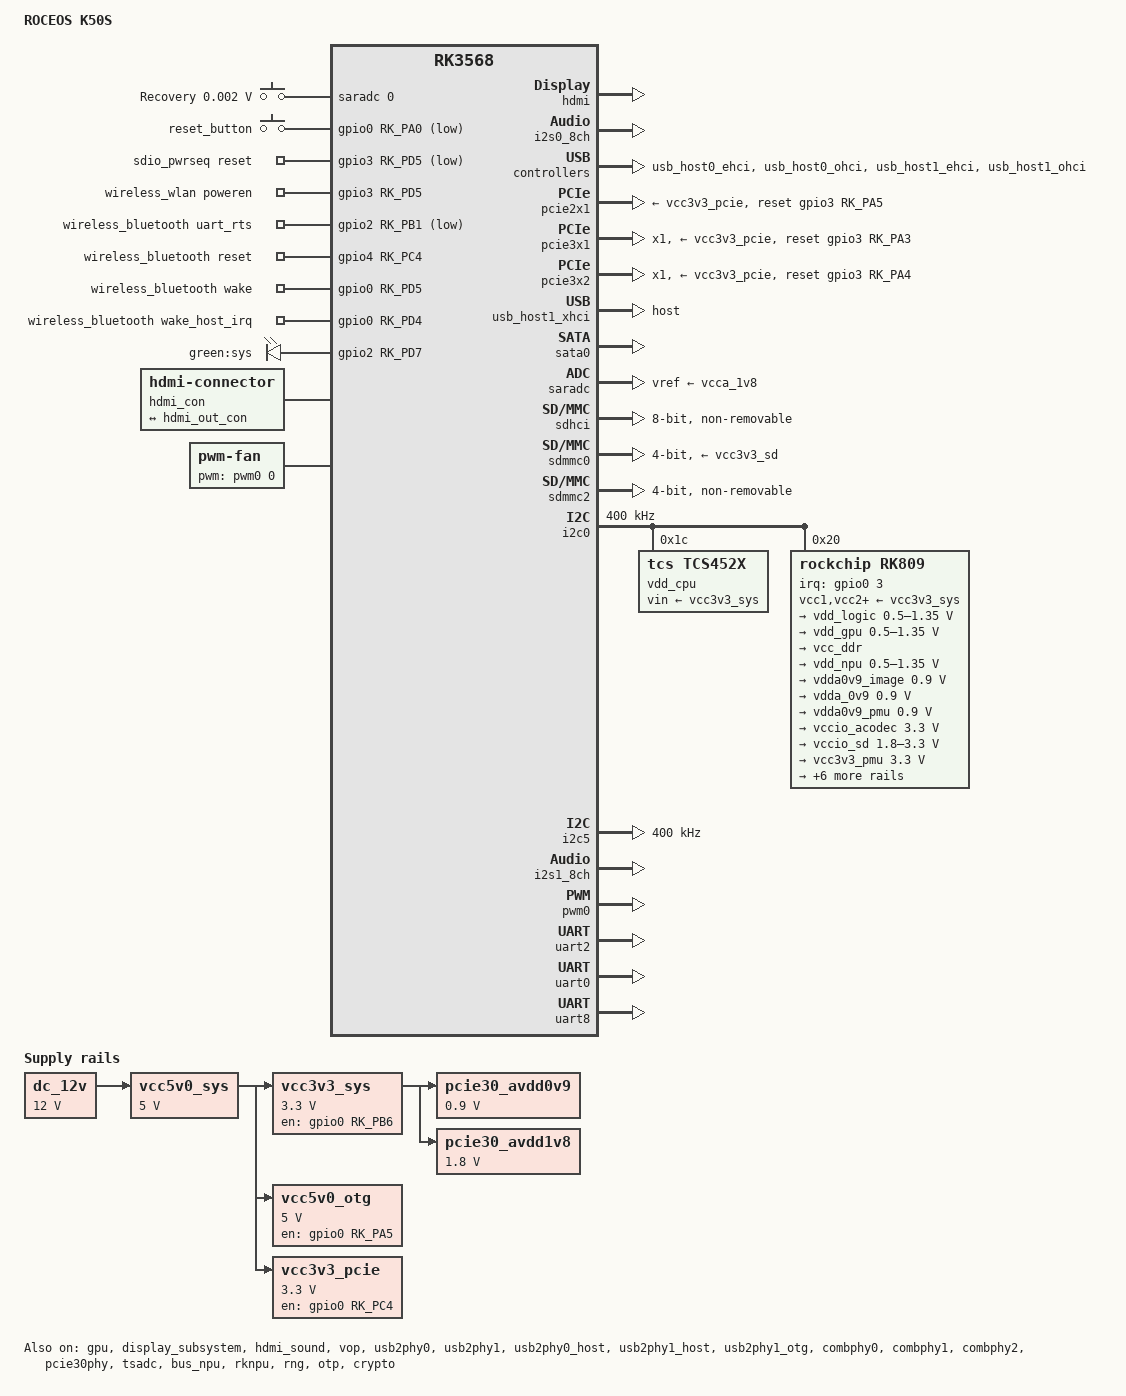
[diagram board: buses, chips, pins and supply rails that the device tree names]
// SPDX-License-Identifier: (GPL-2.0+ OR MIT)
/*
 * Copyright (c) 2020 Rockchip Electronics Co., Ltd.
 * Copyright (c) 2022 ROCEOS
 */

#include <dt-bindings/gpio/gpio.h>
#include <dt-bindings/pinctrl/rockchip.h>
#include <dt-bindings/pwm/pwm.h>
#include <dt-bindings/input/linux-event-codes.h>
#include <dt-bindings/soc/rockchip,vop2.h>
#include <rockchip/rk3568.dtsi>
#include "rk3568-ip.dtsi"
#include "rk3568-ip-rk809.dtsi"
#include "rk3568-ramoops.dtsi"

/ {
	model = "ROCEOS K50S";
	compatible = "roceos,k50s", "rockchip,rk3568";

	aliases {
		ethernet0 = &gmac0;
		ethernet1 = &gmac1;
		mmc0 = &sdmmc0;
		mmc1 = &sdhci;
	};

	chosen: chosen {
		bootargs = "earlycon=uart8250,mmio32,0xfe660000 console=ttyFIQ0 root=PARTUUID=614e0000-0000 rootfstype=squashfs,ext4 initcall_debug";
	};

	/* gmac0/gmac1 外部参考时钟：本板 clock_in_out="input"，
	   主line rk3568.dtsi 不提供 gmac*_clkin 标签，须在此定义 fixed-clock，
	   否则 dtc 报 Reference to non-existent label "gmac0_clkin"/"gmac1_clkin" */
	gmac0_clkin: gmac0-clkin {
		compatible = "fixed-clock";
		#clock-cells = <0>;
		clock-frequency = <125000000>;
	};

	gmac1_clkin: gmac1-clkin {
		compatible = "fixed-clock";
		#clock-cells = <0>;
		clock-frequency = <125000000>;
	};

	fiq-debugger {
		compatible = "rockchip,fiq-debugger";
		rockchip,serial-id = <2>;
		rockchip,wake-irq = <0>;
		rockchip,irq-mode-enable = <1>;
		rockchip,baudrate = <115200>;
		interrupts = <GIC_SPI 252 IRQ_TYPE_LEVEL_LOW>;
		pinctrl-names = "default";
		pinctrl-0 = <&uart2m0_xfer>;
		status = "okay";
	};

	adc_keys: adc-keys {
		compatible = "adc-keys";
		io-channels = <&saradc 0>;
		io-channel-names = "buttons";
		keyup-threshold-microvolt = <1800000>;
		poll-interval = <100>;
		recovery-key {
			label = "Recovery";
			linux,code = <758>;	/* KEY_VENDOR (0x2f6), Rockchip vendor key, not in mainline linux-event-codes.h */
			press-threshold-microvolt = <1800>;
		};
	};

	gpio-keys {
		compatible = "gpio-keys";
		pinctrl-names = "default";
		pinctrl-0 = <&reset_button>;
		button@1 {
			label = "reset_button";
			linux,code = <KEY_RESTART>;
			gpios = <&gpio0 RK_PA0 GPIO_ACTIVE_LOW>;
			linux,input-type = <1>;
			debounce-interval = <60>;
		};
	};

	sdio_pwrseq: sdio-pwrseq {
		compatible = "mmc-pwrseq-simple";
		clocks = <&rk809 1>;
		clock-names = "ext_clock";
		pinctrl-names = "default";
		pinctrl-0 = <&wifi_enable_h>;
		post-power-on-delay-ms = <200>;
		reset-gpios = <&gpio3 RK_PD5 GPIO_ACTIVE_LOW>;
	};

	wireless_wlan: wireless-wlan {
		compatible = "wlan-platdata";
		rockchip,grf = <&grf>;
		wifi_chip_type = "ap6255";
		WIFI,poweren_gpio = <&gpio3 RK_PD5 GPIO_ACTIVE_HIGH>;
		status = "okay";
	};

	wireless_bluetooth: wireless-bluetooth {
		compatible = "bluetooth-platdata";
		clocks = <&rk809 1>;
		clock-names = "ext_clock";
		uart_rts_gpios = <&gpio2 RK_PB1 GPIO_ACTIVE_LOW>;
		pinctrl-names = "default", "rts_gpio";
		pinctrl-0 = <&uart8m0_rtsn>;
		pinctrl-1 = <&uart8_gpios>;
	BT,reset_gpio    = <&gpio4 RK_PC4 GPIO_ACTIVE_HIGH>;
	BT,wake_gpio     = <&gpio0 RK_PD5 GPIO_ACTIVE_HIGH>;
	BT,wake_host_irq = <&gpio0 RK_PD4 GPIO_ACTIVE_HIGH>;
		status = "okay";
	};

	leds {
		compatible = "gpio-leds";
		pinctrl-names = "default";
		pinctrl-0 = <&led_green_en>;
		led_green: green {
			gpios = <&gpio2 RK_PD7 GPIO_ACTIVE_HIGH>;
			label = "green:sys";
			linux,default-trigger = "heartbeat";
		};
	};

	dc_12v: dc-12v {
		compatible = "regulator-fixed";
		regulator-name = "dc_12v";
		regulator-always-on;
		regulator-boot-on;
		regulator-min-microvolt = <12000000>;
		regulator-max-microvolt = <12000000>;
	};

	vcc5v0_sys: vcc5v0-sys {
		compatible = "regulator-fixed";
		regulator-name = "vcc5v0_sys";
		regulator-always-on;
		regulator-boot-on;
		regulator-min-microvolt = <5000000>;
		regulator-max-microvolt = <5000000>;
		vin-supply = <&dc_12v>;
	};

	vcc3v3_sys: vcc3v3-sys {
		compatible = "regulator-fixed";
		regulator-name = "vcc3v3_sys";
		regulator-always-on;
		regulator-boot-on;
		regulator-min-microvolt = <3300000>;
		regulator-max-microvolt = <3300000>;
		enable-active-high;
		gpio = <&gpio0 RK_PB6 GPIO_ACTIVE_HIGH>;
		pinctrl-names = "default";
		pinctrl-0 = <&vcc3v3_sys_en>;
		vin-supply = <&vcc5v0_sys>;
	};

	vcc5v0_otg: vcc5v0-otg-regulator {
		compatible = "regulator-fixed";
		regulator-name = "vcc5v0_otg";
		regulator-min-microvolt = <5000000>;
		regulator-max-microvolt = <5000000>;
		enable-active-high;
		gpio = <&gpio0 RK_PA5 GPIO_ACTIVE_HIGH>;
		vin-supply = <&vcc5v0_sys>;
		pinctrl-names = "default";
		pinctrl-0 = <&vcc5v0_otg_en>;
	};

	pcie30_avdd0v9: pcie30-avdd0v9 {
		compatible = "regulator-fixed";
		regulator-name = "pcie30_avdd0v9";
		regulator-always-on;
		regulator-boot-on;
		regulator-min-microvolt = <900000>;
		regulator-max-microvolt = <900000>;
		vin-supply = <&vcc3v3_sys>;
	};

	pcie30_avdd1v8: pcie30-avdd1v8 {
		compatible = "regulator-fixed";
		regulator-name = "pcie30_avdd1v8";
		regulator-always-on;
		regulator-boot-on;
		regulator-min-microvolt = <1800000>;
		regulator-max-microvolt = <1800000>;
		vin-supply = <&vcc3v3_sys>;
	};

	vcc3v3_pcie: vcc3v3-pcie {
		compatible = "regulator-fixed";
		regulator-name = "vcc3v3_pcie";
		regulator-min-microvolt = <3300000>;
		regulator-max-microvolt = <3300000>;
		enable-active-high;
		gpio = <&gpio0 RK_PC4 GPIO_ACTIVE_HIGH>;
		startup-delay-us = <5000>;
		vin-supply = <&vcc5v0_sys>;
		/* K50S: pcie3x2 is bifurcated into 2x x1 (lane0 -> pcie3x2,
		   lane1 -> pcie3x1). Both controllers share this 3.3V rail
		   (crystal + power on the same route). Per Rockchip PCIe guide,
		   when split 1+1 the rail must stay always-on, otherwise one
		   controller toggling vpcie3v3-supply disrupts the other's init
		   and the link-up busy-waits (RCU stall ~60s at fe270000). */
		regulator-boot-on;
		regulator-always-on;
	};

	/* 20260821: HDMI 输出 —— hdmi-connector（仿 mainline rock-3a 接法） */
	hdmi_con: hdmi-con {
		compatible = "hdmi-connector";
		type = "a";

		port {
			hdmi_con_in: endpoint {
				remote-endpoint = <&hdmi_out_con>;
			};
		};
	};

	fan: fan {
		compatible = "pwm-fan";
		#cooling-cells = <2>;
		pwms = <&pwm0 0 50000>;
		cooling-levels = <0 50 100 150 200 255>;
		status = "okay";
	};
};

&cpu0 { cpu-supply = <&vdd_cpu>; };
&cpu1 { cpu-supply = <&vdd_cpu>; };
&cpu2 { cpu-supply = <&vdd_cpu>; };
&cpu3 { cpu-supply = <&vdd_cpu>; };

&gpu {
	mali-supply = <&vdd_gpu>;
	status = "okay";
};

&pmu_io_domains {
	status = "okay";
	pmuio1-supply = <&vcc3v3_pmu>;
	pmuio2-supply = <&vcc3v3_pmu>;
	vccio1-supply = <&vccio_acodec>;
	vccio3-supply = <&vccio_sd>;
	vccio4-supply = <&vcc_1v8>;	/* 20260821: 厂商 22.03 基线为 vcc_1v8（gmac0 RGMII IO 域）；误写 3v3 致千兆信号完整性破坏（百兆通千兆死） */
	vccio5-supply = <&vcc_3v3>;
	vccio6-supply = <&vcc_1v8>;
	vccio7-supply = <&vcc_3v3>;
};

/* 20260821: 开启 HDMI 输出（mainline rock-3a 接法；avdd 由 rk809 镜像 LDO 提供，
   与 22.03 厂商基线一致；CEC 用 base 默认 hdmitxm0_cec） */
&display_subsystem { status = "okay"; };

&hdmi {
	avdd-0v9-supply = <&vdda0v9_image>;
	avdd-1v8-supply = <&vcca1v8_image>;
	status = "okay";
};

&hdmi_in {
	hdmi_in_vp0: endpoint {
		remote-endpoint = <&vp0_out_hdmi>;
	};
};

&hdmi_out {
	hdmi_out_con: endpoint {
		remote-endpoint = <&hdmi_con_in>;
	};
};

&hdmi_sound { status = "okay"; };

&vp0 {
	vp0_out_hdmi: endpoint@ROCKCHIP_VOP2_EP_HDMI0 {
		reg = <ROCKCHIP_VOP2_EP_HDMI0>;
		remote-endpoint = <&hdmi_in_vp0>;
	};
};

&vop {
	assigned-clocks = <&cru DCLK_VOP0>, <&cru DCLK_VOP1>;
	assigned-clock-parents = <&pmucru PLL_HPLL>, <&cru PLL_VPLL>;
	status = "okay";
};

&vop_mmu { status = "okay"; };
&i2s0_8ch { status = "okay"; };

/* 20260822: 修复两个 USB2.0 口。根因：22.03 厂商基线里 usb2phy0_host/
   usb2phy1_host 子节点带 phy-supply 且 okay，而我们只开了顶层 usb2phy0/1，
   PHY 子节点保持 disabled（dmesg "Requested PHY is disabled"）→ 端口数据
   通路死 → host0 口幻影枚举风暴（error -62 刷屏）。按厂商基线补齐子节点
   配置并恢复两个 host 控制器（昨天为止刷屏的 disable 已撤销）。 */
&usb_host0_ehci { status = "okay"; };
&usb_host0_ohci { status = "okay"; };
&usb_host1_ehci { status = "okay"; };
&usb_host1_ohci { status = "okay"; };
&usb2phy0 { status = "okay"; };
&usb2phy1 { status = "okay"; };

/* 20260822: USB2.0 PHY 子节点供电（22.03 厂商基线） */
&usb2phy0_host {
	phy-supply = <&vcc5v0_otg>;
	status = "okay";
};

&usb2phy0_otg { status = "disabled"; };

&usb2phy1_host {
	phy-supply = <&vcc5v0_otg>;
	status = "okay";
};

&usb2phy1_otg {
	phy-supply = <&vcc5v0_otg>;
	status = "okay";
};
&combphy0 { status = "okay"; };
&combphy1 { status = "okay"; };
&combphy2 { status = "okay"; };

&pcie2x1 {
	reset-gpios = <&gpio3 RK_PA5 GPIO_ACTIVE_HIGH>;
	vpcie3v3-supply = <&vcc3v3_pcie>;
	status = "okay";
};

&pcie3x1 {
	/* K50S: fe270000 = pcie3x1 = LANE1 of the bifurcated PCIe3.0 x2.
	   20260821 root cause: lane1's RTL8125 only becomes trainable AFTER
	   pcie3x2 (lane0, bifurcation master) probes -- its PERST# appears
	   wired to the x2 controller's reset (PA4). Sync probing can NEVER
	   fix this: pcie3x2 only starts probing after pcie3x1's probe
	   returns, i.e. after its link-wait already expired ("Phy link
	   never came up"), and a longer wait just pushes pcie3x2 later.
	   Base-dtsi node reorder was attempted twice via quilt patch but
	   the istoreos-24.10 patch series pre-image is a moving target;
	   dtc /delete-node/ + re-declare does NOT move nodes (verified:
	   dtc keeps the original slot). Fix: kernel patch
	   992-pci-dw-rockchip-async-probe (PROBE_PREFER_ASYNCHRONOUS) so
	   pcie3x2 probes in parallel, pulses the shared PERST# and lane1
	   trains inside pcie3x1's (patch-990 extended ~10s) wait window.
	   rc.local rescan remains as the runtime safety net. */
	reset-gpios = <&gpio3 RK_PA3 GPIO_ACTIVE_HIGH>;
	vpcie3v3-supply = <&vcc3v3_pcie>;
	num-lanes = <1>;
	status = "okay";
};

&pcie3x2 {
	/* K50S: fe280000 = pcie3x2 = LANE0 of the bifurcation; lane0 is stable.
	   No rockchip,bifurcation here: mainline ignores it, the 1+1 split
	   comes from &pcie30phy data-lanes=<1 2>. */
	reset-gpios = <&gpio3 RK_PA4 GPIO_ACTIVE_HIGH>;
	vpcie3v3-supply = <&vcc3v3_pcie>;
	num-lanes = <1>;
	status = "okay";
};

/* pcie30phy (fe8c0000) is the shared snps-pcie3 phy for BOTH pcie3x1 and
   pcie3x2. To split the x2 into 2x x1 (1+1) the phy must be told how the two
   lanes map to the two controllers via data-lanes (binding rockchip,pcie3-phy:
   index = lane position, value = controller-number+1; 0 = disabled).
   lane0 -> pcie3x2 (domain 2), lane1 -> pcie3x1 (domain 1) => <1 2>. */
&pcie30phy {
	data-lanes = <1 2>;
	status = "okay";
};

/* 20260822: 存储接口修复（拓扑已用 22.03 厂商镜像 dmesg 核实）。
   - 板载 SATA 口（接 2.5"/3.5" SATA 盘，22.03 里为 /dev/sdb 4TB 机械盘）走
     sata0，使用 combphy0。需禁用 combphy0 上的 USB3.0 (usb_host0_xhci) 以释放
     phy，对应 22.03 基线的 rockchip,dis-u3otg0-port。
   - M.2 槽（22.03 里为 /dev/sda 240GB，走 xhci SuperSpeed usb 4-1）既不是
     PCIe NVMe，也不是 SATA，而是 combphy1 的 USB3.0，对应 usb_host1_xhci。
     RK3568 仅 3 个 PCIe 控制器全被 5×RTL8125 占用，故 M.2 无 NVMe 通道，
     产品页 "M.2 NVMe" 描述不实。M.2 转接的 UAS 盘会被识别为 /dev/sda。
   - 注意 &sata2(combphy2) 在 .dts 里仍 disabled，保留给 pcie2x1(eth2)，勿动。 */
&usb_host0_xhci {
	status = "disabled";	/* combphy0 专给 sata0，避免抢 phy */
};

&usb_host1_xhci {
	dr_mode = "host";
	status = "okay";	/* combphy1 → M.2 槽 USB3.0 */
	extcon = <&usb2phy1>;
};

&sata0 {
	status = "okay";	/* 板载 SATA 口，combphy0 */
};

&pinctrl {
	leds {
		led_green_en: led-green-en {
			rockchip,pins = <2 RK_PD7 RK_FUNC_GPIO &pcfg_pull_none>;
		};
	};
	keys {
		reset_button: reset-button {
			rockchip,pins = <0 RK_PA0 RK_FUNC_GPIO &pcfg_pull_up>;
		};
	};
	pmic {
		pmic_int: pmic_int {
			rockchip,pins = <0 RK_PA3 RK_FUNC_GPIO &pcfg_pull_up>;
		};
		soc_slppin_gpio: soc_slppin_gpio {
			rockchip,pins = <0 RK_PA2 RK_FUNC_GPIO &pcfg_output_low>;
		};
		soc_slppin_slp: soc_slppin_slp {
			rockchip,pins = <0 RK_PA2 1 &pcfg_pull_up>;
		};
		soc_slppin_rst: soc_slppin_rst {
			rockchip,pins = <0 RK_PA2 2 &pcfg_pull_none>;
		};
	};
	usb {
		vcc5v0_otg_en: vcc5v0-otg-en {
			rockchip,pins = <0 RK_PA5 RK_FUNC_GPIO &pcfg_pull_none>;
		};
	};
	vcc {
		vcc3v3_sys_en: vcc3v3-sys-en {
			rockchip,pins = <0 RK_PB6 RK_FUNC_GPIO &pcfg_pull_none>;
		};
	};
	wireless-wlan {
		wifi_host_wake_irq: wifi-host-wake-irq {
			rockchip,pins = <3 RK_PD4 RK_FUNC_GPIO &pcfg_pull_down>;
		};
	};
	sdio-pwrseq {
		wifi_enable_h: wifi-enable-h {
			rockchip,pins = <3 RK_PD5 RK_FUNC_GPIO &pcfg_pull_none>;
		};
	};
	wireless-bluetooth {
		uart8_gpios: uart8-gpios {
			rockchip,pins = <2 RK_PB1 RK_FUNC_GPIO &pcfg_pull_none>;
		};
	};
	gmac0 {
		gmac0_clkinout: gmac0-clkinout {
			rockchip,pins = <2 RK_PC4 2 &pcfg_pull_none>;
		};
	};
	gmac1 {
		gmac1m1_clkinout: gmac1m1-clkinout {
			rockchip,pins = <2 RK_PD0 2 &pcfg_pull_none>;
		};
	};
};

&saradc {
	status = "okay";
	vref-supply = <&vcca_1v8>;
};

&sdhci {
	bus-width = <8>;
	supports-emmc;
	non-removable;
	max-frequency = <200000000>;
	status = "okay";
};

&sdmmc0 {
	max-frequency = <150000000>;
	supports-sd;
	bus-width = <4>;
	cap-mmc-highspeed;
	cap-sd-highspeed;
	disable-wp;
	sd-uhs-sdr104;
	vmmc-supply = <&vcc3v3_sd>;
	vqmmc-supply = <&vccio_sd>;
	pinctrl-names = "default";
	pinctrl-0 = <&sdmmc0_bus4 &sdmmc0_clk &sdmmc0_cmd &sdmmc0_det>;
	status = "okay";
};

&sdmmc2 {
	max-frequency = <150000000>;
	supports-sdio;
	bus-width = <4>;
	disable-wp;
	cap-sd-highspeed;
	cap-sdio-irq;
	keep-power-in-suspend;
	mmc-pwrseq = <&sdio_pwrseq>;
	non-removable;
	pinctrl-names = "default";
	pinctrl-0 = <&sdmmc2m0_bus4 &sdmmc2m0_cmd &sdmmc2m0_clk>;
	sd-uhs-sdr104;
	status = "okay";
};


&tsadc {
	rockchip,hw-tshut-mode = <0>;
	rockchip,hw-tshut-polarity = <0>;
	status = "okay";
};

/* 20260822c: NPU 电源域最终修法（PD_NPU 必须上电，且不能让 genpd 在开机
   给 driver-less 域断电时读 qos 寄存器 abort）。
   复盘：
   - 原始 stock（rk3568-npu.dtsi 原样 enable）：开机 genpd 给无驱动的
     PD_NPU 断电，rockchip_pmu_save_qos 读 qos_npu(fe180000) 寄存器 ->
     synchronous external abort（2026082209 实测 7.8s 崩溃）。
   - 中间版改为删 PD_NPU 域节点 + 移除两设备 power-domains：PD_NPU 永无人
     开 -> 硬件默认关 -> NPU IOMMU(iommu@fde4b000) 读自己寄存器
     rk_iommu_is_stall_active 直接 external abort（后续镜像实测）。
   结论：PD_NPU 必须上电 NPU 才能用；本板 PD_NPU 在 genpd 断电流程里
   save_qos 会 abort（板级差异），且断电会 "failed to get ack" 而保持上电
   （域等效常开）。
   修法：保留 PD_NPU genpd 节点 + 两设备的 power-domains（让 genpd 在
   IOMMU/rknpu probe 时正常开域），但删掉 pm_qos——genpd 断电时
   save_qos 无寄存器可读即不再 abort，域因断电失败而常开。 */

&power {
	power-domain@RK3568_PD_NPU {
		/delete-property/ pm_qos;
	};
};

&bus_npu {
	bus-supply = <&vdd_logic>;
	pvtm-supply = <&vdd_cpu>;
	status = "okay";
};

&rknpu {
	/* rk3568-npu.dtsi 的 rknpu 节点只写了 interrupts、没写 interrupt-names，
	   而 rknpu 驱动(6.6 分支)用 platform_get_irq_byname(pdev,"npu_irq")
	   要这个名字，缺失即 -ENXIO -> probe 失败（2026082215 实测）。补上。 */
	interrupt-names = "npu_irq";
	rknpu-supply = <&vdd_npu>;
	status = "okay";
};

&rknpu_mmu {
	status = "okay";
};

&rng { status = "okay"; };
&otp { status = "okay"; };
&crypto { status = "okay"; };

&i2c0 {
	status = "okay";
	i2c-scl-rising-time-ns = <160>;
	i2c-scl-falling-time-ns = <30>;
	clock-frequency = <400000>;

	vdd_cpu: tcs4525@1c {
		compatible = "tcs,tcs452x";
		reg = <0x1c>;
		vin-supply = <&vcc3v3_sys>;
		regulator-compatible = "fan53555-reg";
		regulator-name = "vdd_cpu";
		regulator-min-microvolt = <712500>;
		regulator-max-microvolt = <1390000>;
		regulator-init-microvolt = <900000>;
		regulator-ramp-delay = <2300>;
		fcs,suspend-voltage-selector = <1>;
		regulator-boot-on;
		regulator-always-on;
		regulator-state-mem {
			regulator-off-in-suspend;
		};
	};

	rk809: pmic@20 {
		compatible = "rockchip,rk809";
		reg = <0x20>;
		interrupt-parent = <&gpio0>;
		interrupts = <3 IRQ_TYPE_LEVEL_LOW>;

		pinctrl-names = "default", "pmic-sleep", "pmic-power-off", "pmic-reset";
		pinctrl-0 = <&pmic_int>;
		pinctrl-1 = <&soc_slppin_slp>, <&rk817_slppin_slp>;
		pinctrl-2 = <&soc_slppin_gpio>, <&rk817_slppin_pwrdn>;
		pinctrl-3 = <&soc_slppin_gpio>, <&rk817_slppin_rst>;

		rockchip,system-power-controller;
		wakeup-source;
		#clock-cells = <1>;
		clock-output-names = "rk808-clkout1", "rk808-clkout2";
		pmic-reset-func = <0>;
		not-save-power-en = <1>;

		vcc1-supply = <&vcc3v3_sys>;
		vcc2-supply = <&vcc3v3_sys>;
		vcc3-supply = <&vcc3v3_sys>;
		vcc4-supply = <&vcc3v3_sys>;
		vcc5-supply = <&vcc3v3_sys>;
		vcc6-supply = <&vcc3v3_sys>;
		vcc7-supply = <&vcc3v3_sys>;
		vcc8-supply = <&vcc3v3_sys>;
		vcc9-supply = <&vcc3v3_sys>;

		pwrkey {
			status = "okay";
		};

		pinctrl_rk8xx: pinctrl_rk8xx {
			gpio-controller;
			#gpio-cells = <2>;

			rk817_slppin_null: rk817_slppin_null {
				pins = "gpio_slp";
				function = "pin_fun0";
			};

			rk817_slppin_slp: rk817_slppin_slp {
				pins = "gpio_slp";
				function = "pin_fun1";
			};

			rk817_slppin_pwrdn: rk817_slppin_pwrdn {
				pins = "gpio_slp";
				function = "pin_fun2";
			};

			rk817_slppin_rst: rk817_slppin_rst {
				pins = "gpio_slp";
				function = "pin_fun3";
			};
		};

		regulators {
			vdd_logic: DCDC_REG1 {
				regulator-always-on;
				regulator-boot-on;
				regulator-min-microvolt = <500000>;
				regulator-max-microvolt = <1350000>;
				regulator-init-microvolt = <900000>;
				regulator-ramp-delay = <6001>;
				regulator-initial-mode = <0x2>;
				regulator-name = "vdd_logic";
				regulator-state-mem {
					regulator-off-in-suspend;
				};
			};

			vdd_gpu: DCDC_REG2 {
				regulator-always-on;
				regulator-boot-on;
				regulator-min-microvolt = <500000>;
				regulator-max-microvolt = <1350000>;
				regulator-init-microvolt = <900000>;
				regulator-ramp-delay = <6001>;
				regulator-initial-mode = <0x2>;
				regulator-name = "vdd_gpu";
				regulator-state-mem {
					regulator-off-in-suspend;
				};
			};

			vcc_ddr: DCDC_REG3 {
				regulator-always-on;
				regulator-boot-on;
				regulator-initial-mode = <0x2>;
				regulator-name = "vcc_ddr";
				regulator-state-mem {
					regulator-on-in-suspend;
				};
			};

			vdd_npu: DCDC_REG4 {
				regulator-always-on;
				regulator-boot-on;
				regulator-min-microvolt = <500000>;
				regulator-max-microvolt = <1350000>;
				regulator-init-microvolt = <900000>;
				regulator-ramp-delay = <6001>;
				regulator-initial-mode = <0x2>;
				regulator-name = "vdd_npu";
				regulator-state-mem {
					regulator-off-in-suspend;
				};
			};

			vdda0v9_image: LDO_REG1 {
				regulator-boot-on;
				regulator-always-on;
				regulator-min-microvolt = <900000>;
				regulator-max-microvolt = <900000>;
				regulator-name = "vdda0v9_image";
				regulator-state-mem {
					regulator-off-in-suspend;
				};
			};

			vdda_0v9: LDO_REG2 {
				regulator-always-on;
				regulator-boot-on;
				regulator-min-microvolt = <900000>;
				regulator-max-microvolt = <900000>;
				regulator-name = "vdda_0v9";
				regulator-state-mem {
					regulator-off-in-suspend;
				};
			};

			vdda0v9_pmu: LDO_REG3 {
				regulator-always-on;
				regulator-boot-on;
				regulator-min-microvolt = <900000>;
				regulator-max-microvolt = <900000>;
				regulator-name = "vdda0v9_pmu";
				regulator-state-mem {
					regulator-on-in-suspend;
					regulator-suspend-microvolt = <900000>;
				};
			};

			vccio_acodec: LDO_REG4 {
				regulator-always-on;
				regulator-boot-on;
				regulator-min-microvolt = <3300000>;
				regulator-max-microvolt = <3300000>;
				regulator-name = "vccio_acodec";
				regulator-state-mem {
					regulator-off-in-suspend;
				};
			};

			vccio_sd: LDO_REG5 {
				regulator-always-on;
				regulator-boot-on;
				regulator-min-microvolt = <1800000>;
				regulator-max-microvolt = <3300000>;
				regulator-name = "vccio_sd";
				regulator-state-mem {
					regulator-off-in-suspend;
				};
			};

			vcc3v3_pmu: LDO_REG6 {
				regulator-always-on;
				regulator-boot-on;
				regulator-min-microvolt = <3300000>;
				regulator-max-microvolt = <3300000>;
				regulator-name = "vcc3v3_pmu";
				regulator-state-mem {
					regulator-on-in-suspend;
					regulator-suspend-microvolt = <3300000>;
				};
			};

			vcca_1v8: LDO_REG7 {
				regulator-always-on;
				regulator-boot-on;
				regulator-min-microvolt = <1800000>;
				regulator-max-microvolt = <1800000>;
				regulator-name = "vcca_1v8";
				regulator-state-mem {
					regulator-off-in-suspend;
				};
			};

			vcca1v8_pmu: LDO_REG8 {
				regulator-always-on;
				regulator-boot-on;
				regulator-min-microvolt = <1800000>;
				regulator-max-microvolt = <1800000>;
				regulator-name = "vcca1v8_pmu";
				regulator-state-mem {
					regulator-on-in-suspend;
					regulator-suspend-microvolt = <1800000>;
				};
			};

			vcca1v8_image: LDO_REG9 {
				regulator-always-on;
				regulator-boot-on;
				regulator-min-microvolt = <1800000>;
				regulator-max-microvolt = <1800000>;
				regulator-name = "vcca1v8_image";
				regulator-state-mem {
					regulator-off-in-suspend;
				};
			};

			vcc_1v8: DCDC_REG5 {
				regulator-always-on;
				regulator-boot-on;
				regulator-min-microvolt = <1800000>;
				regulator-max-microvolt = <1800000>;
				regulator-name = "vcc_1v8";
				regulator-state-mem {
					regulator-off-in-suspend;
				};
			};

			vcc_3v3: SWITCH_REG1 {
				regulator-always-on;
				regulator-boot-on;
				regulator-name = "vcc_3v3";
				regulator-state-mem {
					regulator-off-in-suspend;
				};
			};

			vcc3v3_sd: SWITCH_REG2 {
				regulator-always-on;
				regulator-boot-on;
				regulator-name = "vcc3v3_sd";
				regulator-state-mem {
					regulator-off-in-suspend;
				};
			};
		};

		rk809_codec: codec {
			#sound-dai-cells = <1>;
			compatible = "rockchip,rk809-codec", "rockchip,rk817-codec";
		clocks = <&cru I2S1_MCLKOUT_TX>;
		clock-names = "mclk";
		assigned-clocks = <&cru I2S1_MCLKOUT_TX>;
		assigned-clock-rates = <12288000>;
			pinctrl-names = "default";
			pinctrl-0 = <&i2s1m0_mclk>;
			hp-volume = <20>;
			spk-volume = <3>;
			mic-in-differential;
			status = "okay";
		};
	};
};

&i2c5 {
	status = "okay";
	i2c-scl-rising-time-ns = <160>;
	i2c-scl-falling-time-ns = <30>;
	clock-frequency = <400000>;
};

&i2s0_8ch {
	status = "okay";
};

&i2s1_8ch {
	status = "okay";
	rockchip,clk-trcm = <1>;
	pinctrl-names = "default";
	pinctrl-0 = <&i2s1m0_sclktx &i2s1m0_lrcktx &i2s1m0_sdi0 &i2s1m0_sdo0>;
};

&pwm0 {
	status = "okay";
};

&uart2 {
	status = "okay";
};

&uart0 {
	status = "okay";
	pinctrl-names = "default";
	pinctrl-0 = <&uart0_xfer &uart0_ctsn &uart0_rtsn>;
};

&uart8 {
	status = "okay";
	pinctrl-names = "default";
	pinctrl-0 = <&uart8m0_xfer &uart8m0_ctsn &uart8m0_rtsn>;
};

&spi0 {
	/* K50S: fe610000.spi (SPI0 m1) claims gpio2-24 (RK_PD0), which is
	   gmac1's RGMII ref-clk pin (input mode). That pinctrl conflict
	   fails gmac1 (eth3) probe. spi0 has no slave device on this board,
	   so disable it to let gmac1 own the pin. (spi1 already disabled
	   for the same reason.) */
	status = "disabled";
	pinctrl-names = "default";
	pinctrl-0 = <&spi0m1_pins>;
};

&spi1 {
	/* K50S: gpio2-24 (RK_PD0) is gmac1's RGMII ref-clk pin (input mode).
	   spi1m1_pins also claims gpio2-24 as SPI1 CLK -> hard pinmux conflict
	   that fails gmac1 (eth1) probe. spi1 has no slave device on this board,
	   so disable it to let gmac1 own the pin. */
	status = "disabled";
	pinctrl-names = "default";
	pinctrl-0 = <&spi1m1_pins>;
};
